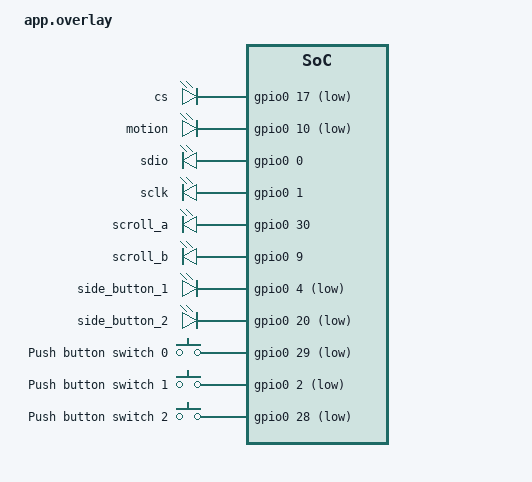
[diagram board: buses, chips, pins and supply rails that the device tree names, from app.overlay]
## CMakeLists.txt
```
#
# Copyright (c) 2019 Nordic Semiconductor ASA
#
# SPDX-License-Identifier: LicenseRef-Nordic-5-Clause
#
cmake_minimum_required(VERSION 3.20.0)

find_package(Zephyr REQUIRED HINTS $ENV{ZEPHYR_BASE})
project(MOUSE)

FILE(GLOB app_sources src/*.c)
# NORDIC SDK APP START
target_sources(app PRIVATE ${app_sources})
# NORDIC SDK APP END
```

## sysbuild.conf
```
# SB_CONFIG_BOOTLOADER_MCUBOOT=y
# SB_CONFIG_MERGED_HEX_FILES=y
```

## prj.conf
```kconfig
#
# Copyright (c) 2019-2025 Nordic Semiconductor ASA
#
# SPDX-License-Identifier: LicenseRef-Nordic-5-Clause
#
CONFIG_NCS_SAMPLES_DEFAULTS=y

CONFIG_BT=y
CONFIG_BT_MAX_CONN=2
CONFIG_BT_MAX_PAIRED=2
CONFIG_BT_ATT_TX_COUNT=5
CONFIG_BT_PERIPHERAL=y
CONFIG_BT_DEVICE_NAME="MOUS"
CONFIG_BT_DEVICE_APPEARANCE=962

# Disable automatic initiation of PHY updates and the SMP Security Requests.
# Workaround to prevent disconnection with the following disconnect reasons:
# - 0x08 (BT_HCI_ERR_CONN_TIMEOUT)
# - 0x13 (BT_HCI_ERR_REMOTE_USER_TERM_CONN)
# - 0x23 (BT_HCI_ERR_LL_PROC_COLLISION)
# - 0x2A (BT_HCI_ERR_DIFF_TRANS_COLLISION)
# Some laptop Bluetooth controllers may simultaneously trigger two Link Layer
# procedures which results in a procedure collision and disconnection.
CONFIG_BUILD_OUTPUT_HEX=y
CONFIG_CLOCK_CONTROL_NRF_K32SRC_RC=y
CONFIG_CLOCK_CONTROL_NRF_K32SRC_XTAL=n
CONFIG_CLOCK_CONTROL_NRF_K32SRC_500PPM=y

CONFIG_BT_GATT_AUTO_SEC_REQ=n
CONFIG_BT_AUTO_PHY_UPDATE=n

CONFIG_BT_BAS=y
CONFIG_BT_HIDS=y
CONFIG_BT_HIDS_INPUT_REP_MAX=3
CONFIG_BT_HIDS_OUTPUT_REP_MAX=0
CONFIG_BT_HIDS_FEATURE_REP_MAX=0
CONFIG_BT_HIDS_ATTR_MAX=24
CONFIG_BT_HIDS_MAX_CLIENT_COUNT=2
CONFIG_BT_HIDS_DEFAULT_PERM_RW_ENCRYPT=y
CONFIG_BT_GATT_UUID16_POOL_SIZE=40
CONFIG_BT_GATT_CHRC_POOL_SIZE=20

CONFIG_BT_CONN_CTX=y

CONFIG_BT_DIS=y
CONFIG_BT_DIS_MANUF_NAME=y
CONFIG_BT_DIS_MANUF_NAME_STR="NordicSemiconductor"
CONFIG_BT_DIS_PNP=y
CONFIG_BT_DIS_PNP_VID_SRC=2
CONFIG_BT_DIS_PNP_VID=0x1915
CONFIG_BT_DIS_PNP_PID=0xEEEE
CONFIG_BT_DIS_PNP_VER=0x0100
#



# Increase BT TX processor thread stack size to prevent stack overflow when performing directed
# advertising. On nRF52840 the maximum measured stack usage is 780 bytes. On nRF54L15 the maximum
# measured stack usage is 856 bytes.
CONFIG_BT_TX_PROCESSOR_STACK_SIZE=1024

CONFIG_MAIN_STACK_SIZE=2048
CONFIG_SYSTEM_WORKQUEUE_STACK_SIZE=2048

CONFIG_DK_LIBRARY=y

# CONFIG_NCS_SAMPLE_MCUMGR_BT_OTA_DFU=y

# CONFIG_BOOTLOADER_MCUBOOT=y


# RTT Logging Configs (Can disable once code is finished)

CONFIG_GPIO=y

CONFIG_LOG=y
CONFIG_LOG_PRINTK=y

CONFIG_BT_LOG_LEVEL_OFF=y
CONFIG_LOG_MODE_DEFERRED=y

CONFIG_CONSOLE=y
CONFIG_USE_SEGGER_RTT=y
CONFIG_RTT_CONSOLE=y
CONFIG_UART_CONSOLE=n
CONFIG_LOG_BACKEND_RTT=y

CONFIG_SPI=y

#CONFIG_DEBUG=y

# Bluetooth Peripheral Preferred Configs

CONFIG_BT_GAP_PERIPHERAL_PREF_PARAMS=y
CONFIG_BT_PERIPHERAL_PREF_LATENCY=0
CONFIG_BT_PERIPHERAL_PREF_MAX_INT=6
CONFIG_BT_PERIPHERAL_PREF_MIN_INT=6
CONFIG_BT_PERIPHERAL_PREF_TIMEOUT=42


# Power Management Configs

CONFIG_PM=y
CONFIG_PM_DEVICE=y
```

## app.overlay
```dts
/ {

	custom {
		compatible = "gpio-leds";
		cs: cs_pin {
			gpios = <&gpio0 17 GPIO_ACTIVE_LOW>;
		};

		motion: motion_pin {
			gpios = <&gpio0 10 (GPIO_PULL_UP | GPIO_ACTIVE_LOW)>;
		};

		sdio: sdio_pin {
			gpios = <&gpio0 0 GPIO_ACTIVE_HIGH>;
		};

		sclk: sclk_pin {
			gpios = <&gpio0 1 GPIO_ACTIVE_HIGH>;
		};

		scroll_a: scroll_a_pin {
			gpios = <&gpio0 30 GPIO_ACTIVE_HIGH>;
		};

		scroll_b: scroll_b_pin {
			gpios = <&gpio0 9 GPIO_ACTIVE_HIGH>;
		};


		side_button_1: side_button_1_pin {
			gpios = <&gpio0 4 (GPIO_PULL_UP | GPIO_ACTIVE_LOW)>;
		};

		side_button_2: side_button_2_pin {
			gpios = <&gpio0 20 (GPIO_PULL_UP | GPIO_ACTIVE_LOW)>;

		};




	};

	buttons {
		compatible = "gpio-keys";

		button0: button_0 {
			gpios = <&gpio0 29 (GPIO_PULL_UP | GPIO_ACTIVE_LOW)>;
			label = "Push button switch 0";
			zephyr,code = <INPUT_KEY_0>;
		};

		button1: button_1 {
			gpios = <&gpio0 2 (GPIO_PULL_UP | GPIO_ACTIVE_LOW)>;
			label = "Push button switch 1";
			zephyr,code = <INPUT_KEY_1>;
		};

		button2: button_2 {
			gpios = <&gpio0 28 (GPIO_PULL_UP | GPIO_ACTIVE_LOW)>;
			label = "Push button switch 2";
			zephyr,code = <INPUT_KEY_2>;
		};

	};

	aliases {

		sw4 = &button4;

	};


};
```

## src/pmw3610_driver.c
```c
#include "pmw3610_driver.h"


const struct gpio_dt_spec cs_pin = GPIO_DT_SPEC_GET(DT_NODELABEL(cs), gpios);
//const struct gpio_dt_spec motion_pin = GPIO_DT_SPEC_GET(DT_NODELABEL(motion), gpios);

const struct gpio_dt_spec sdio_pin = GPIO_DT_SPEC_GET(DT_NODELABEL(sdio), gpios);
const struct gpio_dt_spec sclk_pin = GPIO_DT_SPEC_GET(DT_NODELABEL(sclk), gpios);

uint8_t bitbang_read(int addr) {
	uint8_t result = 0;

	
	gpio_pin_configure_dt(&sdio_pin, GPIO_OUTPUT);

	for(int i = 7; i >= 0; i--) {
		gpio_pin_set_dt(&sclk_pin, 0);
		gpio_pin_set_dt(&sdio_pin, (addr >> i) & 0x01);
		k_busy_wait(2);
		gpio_pin_set_dt(&sclk_pin, 1);
		k_busy_wait(2);
	}

	gpio_pin_configure_dt(&sdio_pin, GPIO_INPUT);
	k_busy_wait(10);

	for(int i = 7; i >= 0; i--) {
		gpio_pin_set_dt(&sclk_pin, 0);
		k_busy_wait(2);
		gpio_pin_set_dt(&sclk_pin, 1);
		k_busy_wait(1);
		result |= (gpio_pin_get_dt(&sdio_pin) << i);
		k_busy_wait(1);
	}

	
	k_busy_wait(2);
	gpio_pin_configure_dt(&sdio_pin, GPIO_OUTPUT_INACTIVE);

	k_busy_wait(20);
	
	return result;

}

void bitbang_write(int addr, int value) {

	addr |= 0x80;

	
	gpio_pin_configure_dt(&sdio_pin, GPIO_OUTPUT);

	for(int i = 7; i >= 0; i--) {
		gpio_pin_set_dt(&sclk_pin, 0);
		gpio_pin_set_dt(&sdio_pin, (addr >> i) & 0x01);
		k_busy_wait(2);
		gpio_pin_set_dt(&sclk_pin, 1);
		k_busy_wait(2);
	}
	

	for(int i = 7; i >= 0; i--) {
		gpio_pin_set_dt(&sclk_pin, 0);
		gpio_pin_set_dt(&sdio_pin, (value >> i) & 0x01);
		k_busy_wait(2);
		gpio_pin_set_dt(&sclk_pin, 1);
		k_busy_wait(2);
	}

}

void pmw3610_spi_on() {

	int addr = 0xC1;
	int value = 0xBA;

	
	gpio_pin_configure_dt(&sdio_pin, GPIO_OUTPUT);

	for(int i = 7; i >= 0; i--) {
		gpio_pin_set_dt(&sclk_pin, 0);
		gpio_pin_set_dt(&sdio_pin, (addr >> i) & 0x01);
		k_busy_wait(2);
		gpio_pin_set_dt(&sclk_pin, 1);
		k_busy_wait(2);
	}
	

	for(int i = 7; i >= 0; i--) {
		gpio_pin_set_dt(&sclk_pin, 0);
		gpio_pin_set_dt(&sdio_pin, (value >> i) & 0x01);
		k_busy_wait(2);
		gpio_pin_set_dt(&sclk_pin, 1);
		k_busy_wait(2);
	}

}

void pmw3610_spi_off() {

	int addr = 0xC1;
	int value = 0xB5;

	
	gpio_pin_configure_dt(&sdio_pin, GPIO_OUTPUT);

	for(int i = 7; i >= 0; i--) {
		gpio_pin_set_dt(&sclk_pin, 0);
		gpio_pin_set_dt(&sdio_pin, (addr >> i) & 0x01);
		k_busy_wait(2);
		gpio_pin_set_dt(&sclk_pin, 1);
		k_busy_wait(2);
	}
	

	for(int i = 7; i >= 0; i--) {
		gpio_pin_set_dt(&sclk_pin, 0);
		gpio_pin_set_dt(&sdio_pin, (value >> i) & 0x01);
		k_busy_wait(2);
		gpio_pin_set_dt(&sclk_pin, 1);
		k_busy_wait(2);
	}

}

void pmw3610_change_page() {

	int registerVal = bitbang_read(0x7f);
	if(registerVal == 0x00) {
		bitbang_write(0x7f, 0xFF);
	}
	else if(registerVal == 0xFF) {
		bitbang_write(0x7f, 0x00);
	}

}



void pmw3610_change_cpi(int cpi_value) {
	if(cpi_value > 3200) {
		cpi_value = 3200;
	}
	if(cpi_value < 200) {
		cpi_value = 200;
	}

	cpi_value = cpi_value / 200;
	pmw3610_change_page();
	uint8_t prev_value = bitbang_read(0x85);
	prev_value = (prev_value >> 5) << 5;

	pmw3610_spi_on();
	

	uint8_t write_value = (prev_value | cpi_value);
	bitbang_write(0x85, write_value);

	pmw3610_change_page();
	pmw3610_spi_off();


}

int pmw3610_get_cpi() {

	pmw3610_change_page();
	uint8_t cpi_value_raw = bitbang_read(0x85);
	int cpi_value = (cpi_value_raw & 0x1F) * 200;
	pmw3610_change_page();
	return cpi_value;

}




void bitbang_powerup() {

	/*II. Drive NCS high, and then low to reset the SPI port.
III. Wait for at least one frame (150us).
IV. Write register 0x2d with value 0x00 (clear observation1 register for sensor self test check).
V. Wait for 10ms, after that read register 0x2d again. Make sure all the bit [3-0] must be set to 1.
VI. Read from registers 0x02, 0x03, 0x04 and 0x05 one time regardless of the motion pin state.
VII. Write register 0x11 with value 0x0d, required setting to configure.
VIII. Write register 0x1b with value 0x04, required setting to configure.
IX. Write register 0x1c with value 0x04, required setting to configure.
X. Write register 0x1d with value 0x0f, required setting to configure
	*/

	gpio_pin_configure_dt(&cs_pin, GPIO_OUTPUT);

	gpio_pin_set_dt(&cs_pin, 1);

	k_busy_wait(150);

	bitbang_write(0x41, 0xBA);
	k_busy_wait(300);
	bitbang_write(0x2d, 0x00);
	k_busy_wait(300);
	bitbang_write(0x41, 0xB5);

	k_msleep(10);

	uint8_t result = bitbang_read(0x2d);
	k_busy_wait(40);

	bitbang_read(0x02);
	k_busy_wait(40);

	bitbang_read(0x03);
	k_busy_wait(40);

	bitbang_read(0x04);
	k_busy_wait(40);

	bitbang_read(0x05);
	k_busy_wait(40);

	bitbang_write(0x41, 0xBA);
	k_busy_wait(300);
	bitbang_write(0x11, 0x0d);
	k_busy_wait(300);
	bitbang_write(0x1b, 0x04);
	k_busy_wait(300);
	bitbang_write(0x1c, 0x04);
	k_busy_wait(300);
	bitbang_write(0x1d, 0x0f);
	k_busy_wait(300);
	bitbang_write(0x41, 0xB5);


}

void getXYMovement_bitbang(int* x, int* y) {
	uint8_t xMovementLower = bitbang_read(0x03);
	uint8_t yMovementLower = bitbang_read(0x04);
	uint8_t xyMovementUpper = bitbang_read(0x05);

	int xMovementUpper = xyMovementUpper >> 4;
	int xUpperBit = xyMovementUpper >> 7;
	xMovementUpper = xMovementUpper & 0b111;

	int yMovementUpper = xyMovementUpper & 0xF;
	int yUpperBit = yMovementUpper >> 3;
	yMovementUpper = yMovementUpper & 0b111;




	int xProcessed = xMovementLower | (xMovementUpper << 8);
	int yProcessed =  yMovementLower | (yMovementUpper << 8);

	if(xUpperBit) {
		xProcessed -= 2048;
	}
	if(yUpperBit) {
		yProcessed -= 2048;
	}




	*x = xProcessed;
	*y = yProcessed;

}





void pmw3610_init() {

    

    if (!gpio_is_ready_dt(&cs_pin)) {
    	return;
	}
    if (!gpio_is_ready_dt(&sdio_pin)) {
    	return;
	}
    if (!gpio_is_ready_dt(&sclk_pin)) {
    	return;
	}
	
	gpio_pin_configure_dt(&cs_pin, GPIO_OUTPUT_INACTIVE);
	gpio_pin_configure_dt(&sclk_pin, GPIO_OUTPUT_ACTIVE);
	gpio_pin_configure_dt(&sdio_pin, GPIO_OUTPUT_INACTIVE);

	gpio_pin_set_dt(&sclk_pin, 1);
	gpio_pin_set_dt(&sdio_pin, 0);
	gpio_pin_set_dt(&cs_pin, 0);
	
	k_msleep(20); 

	bitbang_powerup();
	

}
```

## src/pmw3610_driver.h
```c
#ifndef PMW3610_DRIVER_H
#define PMW3610_DRIVER_H

#pragma once

#include <zephyr/device.h>
#include <zephyr/devicetree.h>
#include <zephyr/kernel.h>
#include <zephyr/logging/log.h>
#include <zephyr/drivers/spi.h>
#include <zephyr/drivers/gpio.h>
#include <zephyr/sys/util.h>
#include <zephyr/sys/printk.h>

#define PMW3610_PROD_ID		0x00
#define PMW3610_REV_ID		0x01
#define PMW3610_MOTION		0x02
#define PMW3610_DELTA_X_L	0x03
#define PMW3610_DELTA_Y_L	0x04
#define PMW3610_DELTA_XY_H	0x05
#define PMW3610_PERFORMANCE	0x11
#define PMW3610_BURST_READ	0x12
#define PMW3610_RUN_DOWNSHIFT	0x1b
#define PMW3610_REST1_RATE	0x1c
#define PMW3610_REST1_DOWNSHIFT	0x1d
#define PMW3610_OBSERVATION1	0x2d
#define PMW3610_SMART_MODE	0x32
#define PMW3610_POWER_UP_RESET	0x3a
#define PMW3610_SHUTDOWN	0x3b
#define PMW3610_SPI_CLK_ON_REQ	0x41
#define PWM3610_SPI_PAGE0	0x7f

#define PMW3610_CRC0  0x0c
#define PMW3610_CRC1  0x0d
#define PMW3610_CRC2  0x0e
#define PMW3610_CRC3  0x0f

#define SPIOP      SPI_WORD_SET(8) | SPI_TRANSFER_MSB | SPI_MODE_CPOL | SPI_MODE_CPHA 

// bool smart_enable = false;
// bool smart_flag = true;

extern const struct gpio_dt_spec cs_pin;
//extern const struct gpio_dt_spec motion_pin;

extern const struct gpio_dt_spec sdio_pin;
extern const struct gpio_dt_spec sclk_pin;

#define MOUSE_MOVEMENT_MULTIPLIER  1

uint8_t bitbang_read(int addr);

void pmw3610_spi_on();
void pmw3610_spi_off();
void bitbang_write(int addr, int value);
void bitbang_powerup();
void getXYMovement_bitbang(int* x, int* y);
void pmw3610_init();

void pmw3610_change_page();
void pmw3610_change_cpi(int cpi_value);
int pmw3610_get_cpi(); 

#endif
```
